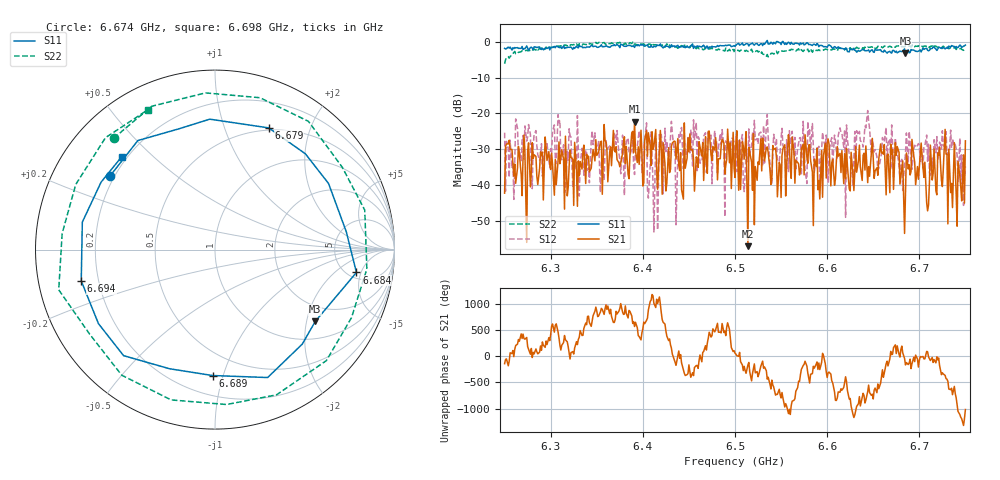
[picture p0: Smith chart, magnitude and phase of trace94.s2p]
# Hz S RI R 50
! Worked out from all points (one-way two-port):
!   401 points, 6.25 GHz to 6.75 GHz, reference 50 ohm
!   highest |S21| = -22.29 dB at 6.391 GHz (marker M1); lowest = -57.2 dB at 6.514 GHz (marker M2)
!   lowest |S11| = -3.3 dB at 6.685 GHz (marker M3), VSWR 5.39, Z = 74.5 - j113 ohm
!   |S11| at or under -10 dB: nowhere
!   |S22| runs from -6.1 to -0.1 dB; largest |S21 - S12| = 0.13
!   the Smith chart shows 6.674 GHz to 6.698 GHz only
!   S11 on the Smith chart (normalised r, x): 6.674 GHz: 0.18, +0.31; 6.679 GHz: 0.47, +1.43; 6.684 GHz: 5.93, -4.17; 6.689 GHz: 0.33, -0.92; 6.694 GHz: 0.13, -0.11; 6.698 GHz: 0.18, +0.40
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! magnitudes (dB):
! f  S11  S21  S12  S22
! 6.25 GHz  -1.8  -42.3  -25.4  -6.1
! 6.254 GHz  -1.5  -28.5  -29.8  -4.1
! 6.276 GHz  -2.4  -28.3  -23.1  -2.5
! 6.31 GHz  -1.6  -34.1  -22.0  -1.2
! 6.314 GHz  -1.2  -32.8  -28.8  -0.7
! 6.334 GHz  -1.4  -35.6  -29.8  -0.9
! 6.391 GHz  -1.6  -22.3  -37.1  -0.6
! 6.414 GHz  -1.4  -24.5  -27.1  -0.8
! 6.418 GHz  -1.0  -30.4  -25.5  -0.9
! 6.5 GHz  -1.3  -37.9  -32.2  -2.1
! 6.514 GHz  -0.6  -57.2  -33.6  -2.7
! 6.584 GHz  -1.0  -36.4  -22.9  -2.9
! 6.668 GHz  -2.7  -42.2  -27.1  -1.2
! 6.674 GHz  -2.9  -28.2  -26.9  -1.5
! 6.679 GHz  -2.6  -39.8  -38.3  -1.1
! 6.684 GHz  -2.0  -53.6  -34.0  -1.4
! 6.685 GHz  -3.3  -41.9  -31.2  -1.1
! 6.689 GHz  -3.1  -34.4  -25.0  -1.2
! 6.694 GHz  -2.3  -31.9  -30.0  -1.3
! 6.698 GHz  -2.7  -34.9  -29.0  -1.3
! 6.744 GHz  -0.9  -37.7  -27.0  -1.9
! 6.75 GHz  -0.9  -27.7  -34.9  -1.8
